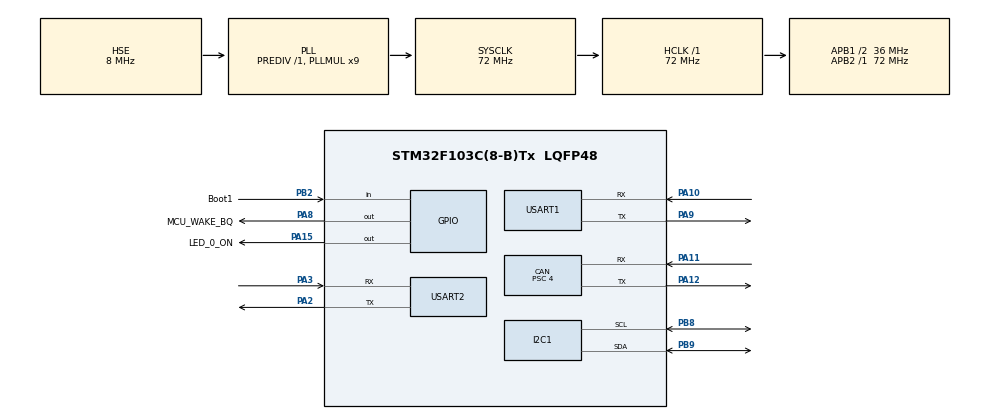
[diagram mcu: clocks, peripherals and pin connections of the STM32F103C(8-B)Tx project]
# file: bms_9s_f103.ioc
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CAN.BS1=CAN_BS1_9TQ
CAN.BS2=CAN_BS2_8TQ
CAN.CalculateBaudRate=500000
CAN.CalculateTimeBit=2000
CAN.CalculateTimeQuantum=111.11111111111111
CAN.Prescaler=4
FREERTOS.Tasks01=defaultTask,24,128,StartDefaultTask,Default,NULL,Dynamic,NULL,NULL
FREERTOS.configTOTAL_HEAP_SIZE=12288
IWDG.Prescaler=IWDG_PRESCALER_64
IWDG.Reload=1250
Mcu.Family=STM32F1
Mcu.Name=STM32F103C(8-B)Tx
Mcu.Package=LQFP48
NVIC.CAN1_RX1_IRQn=true\:5\:0\:true\:false\:true\:true\:true\:true\:true
NVIC.PriorityGroup=NVIC_PRIORITYGROUP_4
NVIC.TIM1_UP_IRQn=true\:15\:0\:false\:false\:true\:false\:false\:true\:true
NVIC.TIM2_IRQn=true\:5\:0\:true\:false\:true\:true\:true\:true\:true
NVIC.TimeBase=TIM1_UP_IRQn
NVIC.TimeBaseIP=TIM1
NVIC.USART1_IRQn=true\:5\:0\:false\:false\:true\:true\:true\:true\:true
NVIC.USART2_IRQn=true\:5\:0\:false\:false\:true\:true\:true\:true\:true
PA10.Mode=Asynchronous
PA10.Signal=USART1_RX
PA11.Mode=CAN_Activate
PA11.Signal=CAN_RX
PA12.Mode=CAN_Activate
PA12.Signal=CAN_TX
PA13.Mode=Serial_Wire
PA13.Signal=SYS_JTMS-SWDIO
PA14.Mode=Serial_Wire
PA14.Signal=SYS_JTCK-SWCLK
PA15.GPIO_Label=LED_0_ON
PA15.Signal=GPIO_Output
PA2.Mode=Asynchronous
PA2.Signal=USART2_TX
PA3.Mode=Asynchronous
PA3.Signal=USART2_RX
PA8.GPIO_Label=MCU_WAKE_BQ
PA8.Signal=GPIO_Output
PA9.Mode=Asynchronous
PA9.Signal=USART1_TX
PB2.GPIO_Label=Boot1
PB2.Signal=GPIO_Input
PB8.Mode=I2C
PB8.Signal=I2C1_SCL
PB9.Mode=I2C
PB9.Signal=I2C1_SDA
PD0-OSC_IN.Mode=HSE-External-Oscillator
PD0-OSC_IN.Signal=RCC_OSC_IN
PD1-OSC_OUT.Mode=HSE-External-Oscillator
PD1-OSC_OUT.Signal=RCC_OSC_OUT
ProjectManager.HeapSize=0x200
ProjectManager.StackSize=0x400
ProjectManager.TargetToolchain=CMake
RCC.AHBFreq_Value=72000000
RCC.APB1CLKDivider=RCC_HCLK_DIV2
RCC.APB1Freq_Value=36000000
RCC.APB1TimFreq_Value=72000000
RCC.APB2Freq_Value=72000000
RCC.APB2TimFreq_Value=72000000
RCC.HCLKFreq_Value=72000000
RCC.PLLMUL=RCC_PLL_MUL9
RCC.PLLSourceVirtual=RCC_PLLSOURCE_HSE
RCC.SYSCLKFreq_VALUE=72000000
RCC.SYSCLKSource=RCC_SYSCLKSOURCE_PLLCLK
RCC.USBFreq_Value=72000000
TIM2.Period=1000-1
TIM2.Prescaler=7200-1
USART1.VirtualMode=VM_ASYNC
USART2.VirtualMode=VM_ASYNC
VP_FREERTOS_VS_CMSIS_V2.Mode=CMSIS_V2
VP_IWDG_VS_IWDG.Mode=IWDG_Activate
VP_SYS_VS_tim1.Mode=TIM1
VP_TIM2_VS_ClockSourceINT.Mode=Internal
board=custom

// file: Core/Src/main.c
/* USER CODE BEGIN Header */
/**
  ******************************************************************************
  * @file           : main.c
  * @brief          : Main program body
  ******************************************************************************
  * @attention
  *
  * Copyright (c) 2026 STMicroelectronics.
  * All rights reserved.
  *
  * This software is licensed under terms that can be found in the LICENSE file
  * in the root directory of this software component.
  * If no LICENSE file comes with this software, it is provided AS-IS.
  *
  ******************************************************************************
  */
/* USER CODE END Header */
#include "main.h"
#include "cmsis_os.h"
#include "can.h"
#include "i2c.h"
#include "iwdg.h"
#include "tim.h"
#include "usart.h"
#include "gpio.h"

/* USER CODE BEGIN Includes */
#include "timer.h"
#include "bms_app.h"
#include "usart.h"
#include "usart_drv.h"
#include <stdio.h>
#include <string.h>
/* USER CODE END Includes */

void SystemClock_Config(void);
void MX_FREERTOS_Init(void);

/* USER CODE BEGIN 0 */
/* ---- printf 重定向到 USART2 (debug 输出) ---- */
int __io_putchar(int ch) {
    HAL_UART_Transmit(&huart2, (uint8_t *)&ch, 1, HAL_MAX_DELAY);
    return ch;
}

/* ---- 调试输出: 直接 HAL 发送，绕过 printf 缓冲区 ---- */
void dbg_out(const char *s) {
    if (s == NULL) { return; }
    HAL_UART_Transmit(&huart2, (uint8_t *)s, (uint16_t)strlen(s), HAL_MAX_DELAY);
}
/* USER CODE END 0 */

int main(void)
{

  /* MCU Configuration--------------------------------------------------------*/

  /* Reset of all peripherals, Initializes the Flash interface and the Systick. */
  HAL_Init();

  /* Configure the system clock */
  SystemClock_Config();

  /* Initialize all configured peripherals */
  MX_GPIO_Init();
  MX_CAN_Init();
  MX_I2C1_Init();
  MX_IWDG_Init();
  MX_TIM2_Init();
  MX_USART1_UART_Init();
  MX_USART2_UART_Init();
  /* USER CODE BEGIN 2 */
  /* ---- 启动标记 + 打印复位原因 ---- */
  {
      uint32_t csr = RCC->CSR;
      const char *src = "UNKNOWN";
      if (csr & RCC_CSR_IWDGRSTF)  { src = "IWDG"; }
      else if (csr & RCC_CSR_WWDGRSTF) { src = "WWDG"; }
      else if (csr & RCC_CSR_PORRSTF)  { src = "POR"; }
      else if (csr & RCC_CSR_PINRSTF)  { src = "PIN"; }
      else if (csr & RCC_CSR_SFTRSTF)  { src = "SW"; }
      else if (csr & RCC_CSR_LPWRRSTF) { src = "LPWR"; }
      printf("RST=%s ", src);
      /* 清除全部复位标志 (写 RMVF=1 清 CSR) */
      SET_BIT(RCC->CSR, RCC_CSR_RMVF);
  }
  printf("BMS starting...\r\n");
  fflush(stdout);
  /* USER CODE END 2 */

  /* Init scheduler */
  osKernelInitialize();  /* Call init function for freertos objects (in cmsis_os2.c) */
  MX_FREERTOS_Init();

  /* Start scheduler */
  osKernelStart();

  /* We should never get here as control is now taken by the scheduler */

  /* Infinite loop */
  while (1)
  {

  }
}

void SystemClock_Config(void)
{
  RCC_OscInitTypeDef RCC_OscInitStruct = {0};
  RCC_ClkInitTypeDef RCC_ClkInitStruct = {0};

  /** Initializes the RCC Oscillators according to the specified parameters
  * in the RCC_OscInitTypeDef structure.
  */
  RCC_OscInitStruct.OscillatorType = RCC_OSCILLATORTYPE_LSI|RCC_OSCILLATORTYPE_HSE;
  RCC_OscInitStruct.HSEState = RCC_HSE_ON;
  RCC_OscInitStruct.HSEPredivValue = RCC_HSE_PREDIV_DIV1;
  RCC_OscInitStruct.HSIState = RCC_HSI_ON;
  RCC_OscInitStruct.LSIState = RCC_LSI_ON;
  RCC_OscInitStruct.PLL.PLLState = RCC_PLL_ON;
  RCC_OscInitStruct.PLL.PLLSource = RCC_PLLSOURCE_HSE;
  RCC_OscInitStruct.PLL.PLLMUL = RCC_PLL_MUL9;
  if (HAL_RCC_OscConfig(&RCC_OscInitStruct) != HAL_OK)
  {
    Error_Handler();
  }

  /** Initializes the CPU, AHB and APB buses clocks
  */
  RCC_ClkInitStruct.ClockType = RCC_CLOCKTYPE_HCLK|RCC_CLOCKTYPE_SYSCLK
                              |RCC_CLOCKTYPE_PCLK1|RCC_CLOCKTYPE_PCLK2;
  RCC_ClkInitStruct.SYSCLKSource = RCC_SYSCLKSOURCE_PLLCLK;
  RCC_ClkInitStruct.AHBCLKDivider = RCC_SYSCLK_DIV1;
  RCC_ClkInitStruct.APB1CLKDivider = RCC_HCLK_DIV2;
  RCC_ClkInitStruct.APB2CLKDivider = RCC_HCLK_DIV1;

  if (HAL_RCC_ClockConfig(&RCC_ClkInitStruct, FLASH_LATENCY_2) != HAL_OK)
  {
    Error_Handler();
  }
}

void HAL_TIM_PeriodElapsedCallback(TIM_HandleTypeDef *htim)
{
  if (htim->Instance == TIM1)
  {
    HAL_IncTick();
  }
  /* USER CODE BEGIN Callback 1 */
  bsp_timer_irq_handler(htim);
  /* USER CODE END Callback 1 */
}

void Error_Handler(void)
{
  __disable_irq();
  while (1)
  {
  }
}

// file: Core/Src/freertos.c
/* USER CODE BEGIN Header */
/**
  ******************************************************************************
  * File Name          : freertos.c
  * Description        : Code for freertos applications
  ******************************************************************************
  * @attention
  *
  * Copyright (c) 2026 STMicroelectronics.
  * All rights reserved.
  *
  * This software is licensed under terms that can be found in the LICENSE file
  * in the root directory of this software component.
  * If no LICENSE file comes with this software, it is provided AS-IS.
  *
  ******************************************************************************
  */
/* USER CODE END Header */

#include "FreeRTOS.h"
#include "task.h"
#include "main.h"
#include "cmsis_os.h"

/* USER CODE BEGIN Includes */
#include "bms_app.h"
/* USER CODE END Includes */

/* Definitions for defaultTask */
osThreadId_t defaultTaskHandle;
const osThreadAttr_t defaultTask_attributes = {
  .name = "defaultTask",
  .stack_size = 256 * 4,
  .priority = (osPriority_t) osPriorityNormal,
};

void StartDefaultTask(void *argument);

void MX_FREERTOS_Init(void); /* (MISRA C 2004 rule 8.1) */

void MX_FREERTOS_Init(void) {

  /* Create the thread(s) */
  /* creation of defaultTask */
  defaultTaskHandle = osThreadNew(StartDefaultTask, NULL, &defaultTask_attributes);

}

void StartDefaultTask(void *argument)
{
  /* USER CODE BEGIN StartDefaultTask */
  /* ---- BMS 应用初始化（调度器已启动，任务可立即运行）---- */
  extern void dbg_out(const char *s);
  dbg_out("[BOOT] defaultTask start\r\n");
  bms_app_init();
  dbg_out("[BOOT] bms_app_init done\r\n");
  /* 初始化完成后本任务退出，仅保留 6 个 BMS 工作线程 */
  osThreadExit();
  /* USER CODE END StartDefaultTask */
}
